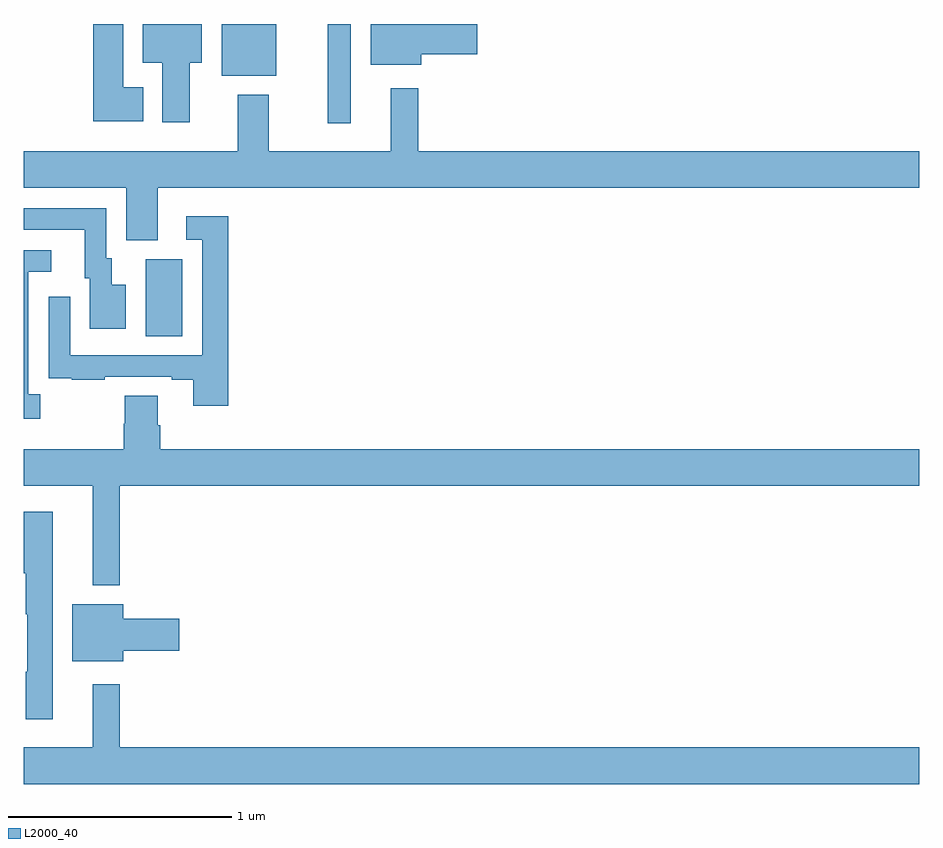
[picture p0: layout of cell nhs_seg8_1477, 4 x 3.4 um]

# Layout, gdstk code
import gdstk
lib = gdstk.Library(unit=1e-6, precision=1e-09)
def R(c, l, rs):  # rectangles x0, y0, x1, y1
    for r in rs: c.add(gdstk.rectangle(r[:2], r[2:], *l))
def P(c, l, *ps):  # polygons
    for p in ps: c.add(gdstk.Polygon(p, *l))
L2000_40 = (2000, 40)

nhs_seg8_1477 = lib.new_cell('nhs_seg8_1477')
R(nhs_seg8_1477, L2000_40, [(205.544,1114.504,205.708,1114.848), (206.357,1115.457,206.461,1115.9), (205.883,1115.669,206.128,1115.9)])
P(nhs_seg8_1477, L2000_40, [(205.534,1115.617),(205.444,1115.617),(205.444,1115.9),(205.31,1115.9),(205.31,1115.465),(205.534,1115.465)],
  [(206.776,1115.764),(207.025,1115.764),(207.025,1115.9),(206.549,1115.9),(206.549,1115.717),(206.776,1115.717)],
  [(205.741,1115.726),(205.795,1115.726),(205.795,1115.9),(205.532,1115.9),(205.532,1115.726),(205.619,1115.726),(205.619,1115.46),(205.741,1115.46)],
  [(205.597,1115.168),(209,1115.168),(209,1115.332),(206.761,1115.332),(206.761,1115.614),(206.639,1115.614),(206.639,1115.332),(206.095,1115.332),(206.095,1115.584),(205.955,1115.584),(205.955,1115.332),(205,1115.332),(205,1115.168),(205.457,1115.168),(205.457,1114.933),(205.597,1114.933)],
  [(205.456,1114.735),(205.393,1114.735),(205.393,1114.854),(205.368,1114.854),(205.368,1115.076),(205,1115.076),(205,1114.98),(205.271,1114.98),(205.271,1114.764),(205.295,1114.764),(205.295,1114.539),(205.456,1114.539)],
  [(205.913,1115.041),(205.725,1115.041),(205.725,1114.935),(205.797,1114.935),(205.797,1114.419),(205.206,1114.419),(205.206,1114.681),(205.11,1114.681),(205.11,1114.426),(205.111,1114.426),(205.111,1114.317),(205.213,1114.317),(205.213,1114.311),(205.361,1114.311),(205.361,1114.323),(205.661,1114.323),(205.661,1114.311),(205.757,1114.311),(205.757,1114.194),(205.913,1114.194)],
  [(205.072,1114.246),(205.02,1114.246),(205.02,1114.794),(205.123,1114.794),(205.123,1114.89),(205,1114.89),(205,1114.136),(205.072,1114.136)],
  [(205.45,1114.238),(205.45,1114.113),(205.445,1114.113),(205.445,1114),(205,1114),(205,1113.836),(205.307,1113.836),(205.307,1113.392),(205.429,1113.392),(205.429,1113.836),(209,1113.836),(209,1114),(205.61,1114),(205.61,1114.106),(205.597,1114.106),(205.597,1114.238)],
  [(205.129,1113.721),(205,1113.721),(205,1113.446),(205.008,1113.446),(205.008,1113.262),(205.015,1113.262),(205.015,1113.005),(205.008,1113.005),(205.008,1112.793),(205.129,1112.793)],
  [(205.444,1113.1),(205.693,1113.1),(205.693,1113.242),(205.444,1113.242),(205.444,1113.307),(205.217,1113.307),(205.217,1113.053),(205.444,1113.053)],
  [(209,1112.668),(205.429,1112.668),(205.429,1112.95),(205.307,1112.95),(205.307,1112.668),(205,1112.668),(205,1112.504),(209,1112.504)])

lib.write_gds('nhs_seg8_1477.gds')
